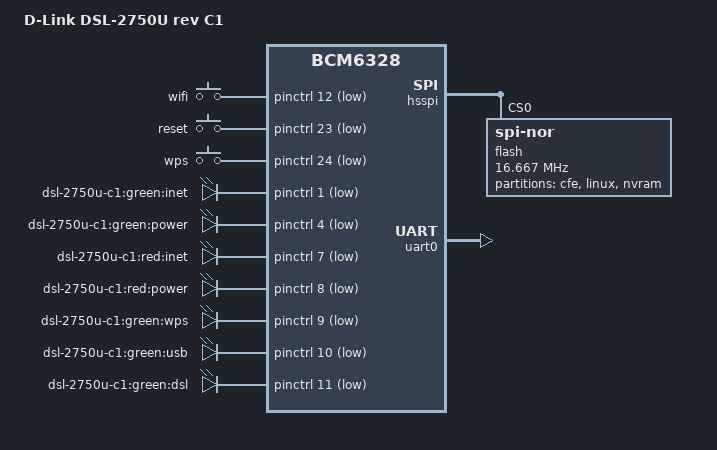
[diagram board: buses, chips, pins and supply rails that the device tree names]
// SPDX-License-Identifier: GPL-2.0-or-later OR MIT
/dts-v1/;

#include "bcm6328.dtsi"

#include <dt-bindings/input/input.h>

/ {
	model = "D-Link DSL-2750U rev C1";
	compatible = "d-link,dsl-2750u-c1", "brcm,bcm6328";

	chosen {
		bootargs = "rootfstype=squashfs,jffs2 noinitrd console=ttyS0,115200";
		stdout-path = "serial0:115200n8";
	};

	keys {
		compatible = "gpio-keys-polled";
		poll-interval = <20>;

		wifi {
			label = "wifi";
			gpios = <&pinctrl 12 1>;
			linux,code = <KEY_WLAN>;
			debounce-interval = <60>;
		};

		reset {
			label = "reset";
			gpios = <&pinctrl 23 1>;
			linux,code = <KEY_RESTART>;
			debounce-interval = <60>;
		};

		wps {
			label = "wps";
			gpios = <&pinctrl 24 1>;
			linux,code = <KEY_WPS_BUTTON>;
			debounce-interval = <60>;
		};
	};

	leds {
		compatible = "gpio-leds";

		inet_green {
			label = "dsl-2750u-c1:green:inet";
			gpios = <&pinctrl 1 1>;
		};

		power_green {
			label = "dsl-2750u-c1:green:power";
			gpios = <&pinctrl 4 1>;
			default-state = "on";
		};

		inet_red {
			label = "dsl-2750u-c1:red:inet";
			gpios = <&pinctrl 7 1>;
		};

		power_red {
			label = "dsl-2750u-c1:red:power";
			gpios = <&pinctrl 8 1>;
		};

		wps_green {
			label = "dsl-2750u-c1:green:wps";
			gpios = <&pinctrl 9 1>;
		};

		usb_green {
			label = "dsl-2750u-c1:green:usb";
			gpios = <&pinctrl 10 1>;
		};

		dsl_green {
			label = "dsl-2750u-c1:green:dsl";
			gpios = <&pinctrl 11 1>;
		};
	};
};

&hsspi {
	status = "ok";

	flash@0 {
		compatible = "jedec,spi-nor";
		spi-max-frequency = <16666667>;
		spi-tx-bus-width = <2>;
		spi-rx-bus-width = <2>;
		reg = <0>;

		partitions {
			compatible = "fixed-partitions";
			#address-cells = <1>;
			#size-cells = <1>;

			cfe@0 {
				reg = <0x000000 0x010000>;
				label = "cfe";
				read-only;
			};

			linux@10000 {
				reg = <0x010000 0x7e0000>;
				label = "linux";
				compatible = "brcm,bcm963xx-imagetag";
			};

			nvram@7f0000 {
				reg = <0x7f0000 0x010000>;
				label = "nvram";
			};
		};
	};
};

&uart0 {
	status = "ok";
};
